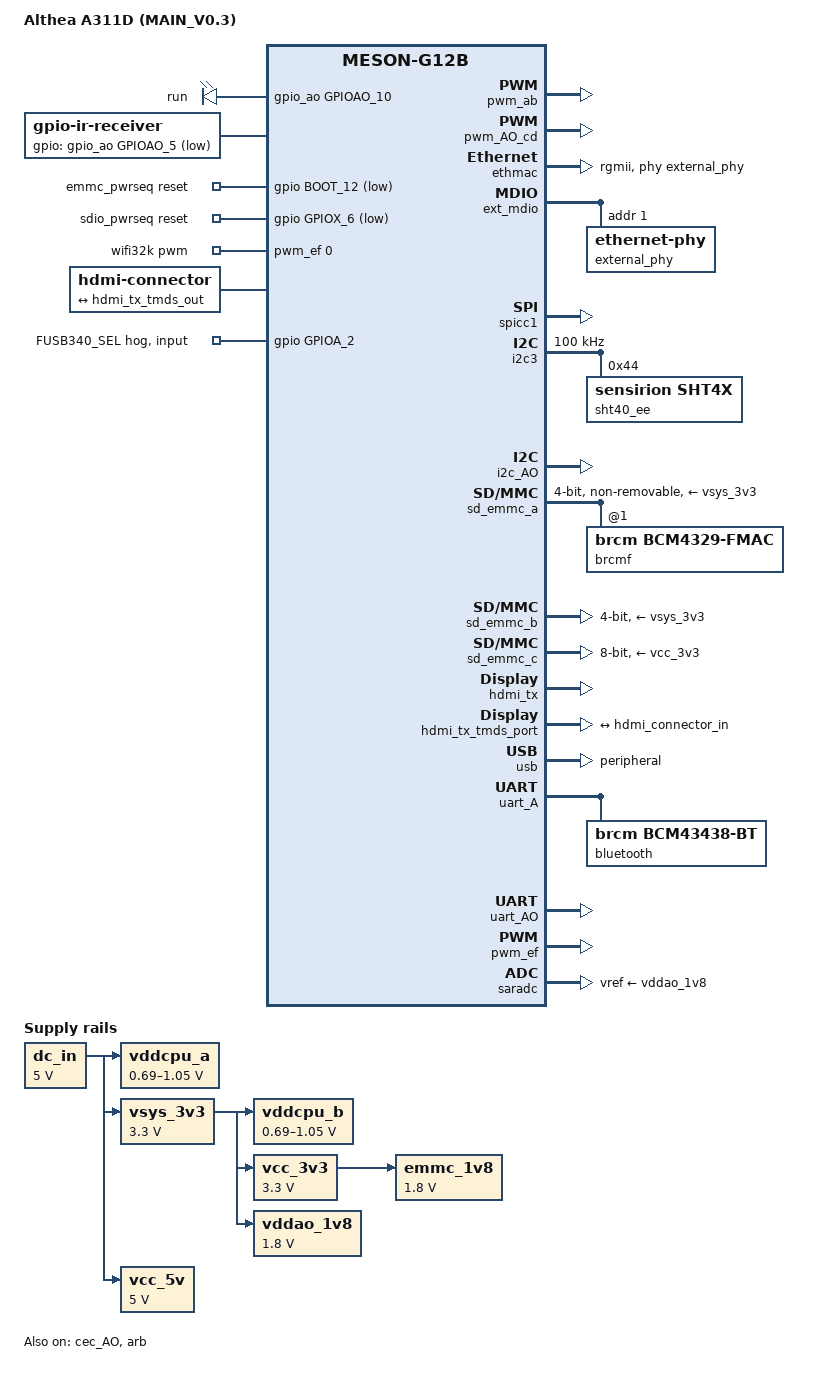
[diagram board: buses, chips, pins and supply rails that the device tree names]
// SPDX-License-Identifier: (GPL-2.0+ OR MIT)
/*
 * MAIN_V0.3 — Althea A311D board
 *
 * 派生自 Khadas VIM3 (meson-g12b-a311d-khadas-vim3.dts)
 * 骨架来源: mainline kernel 6.18.52
 *          arch/arm64/boot/dts/amlogic/meson-khadas-vim3.dtsi
 *
 * 本板与 VIM3 的差异:
 *   - 无on-board MCU（VIM3 用 khadas_mcu@18 + tca6408@20 做 GPIO扩展）→ 已删除
 *   - 无音频（TDM 声卡全删）→ 已删除
 *   - FUSB340TMX 切换改由 GPIOA_2 直控 SEL（VIM3 靠 MCU）
 *   - 以太网 PHY 地址 = 1（strap 实测，非 VIM3 的 0）
 *   - 新增 SPI 点屏（GPIOA_3/GPIOA_4/GPIOH_4~8）
 *   - 新增 SHT40 温湿度（U42，地址 0x44，走 &i2c3）
 *     （U45 虽贴装但 I2C 线网表悬空，未启用）
 *   - 摄像头未使用 → CSI/ISP 关闭
 *
 * 数据来源: MAIN_V0.3 全工程网表实测（495 元件/ 393 网络）
 *          PCB 等长网络组实测（TX散布6.5mil / RX 散布 7.3mil）
 *
 * ⚠ 运行时热切换限制（详见 FUSB340 说明段）
 *
 *   &pcie 与 &usb 共用 usb3_pcie_phy（meson-g12-common.dtsi:164/2510），
 *   DTS 是编译期静态描述，PHY 归谁在编译时就定死。
 *   → 当前配置：默认只开 USB3.0（&usb okay，&pcie disabled），
 *     与 FUSB340 SEL 默认 LOW 一致。
 *   → 运行期 echo GPIO 只能改 FUSB340 物理通路，无法同步 SoC 内部 PHY 归属。
 *   → 要切 PCIe 需重编 DTB（方案 A，推荐）或实测 unbind/bind（方案 C，不保证）。
 *
 * ✅ 已确认可用：CPU 调压(VIM3 骨架) / 以太网(rgmii+tx-delay+rx-delay) /
 *    SDIO / SD / eMMC / HDMI / CEC / USB / 运行灯 / 红外GPIO /
 *    **SPI 硬件 SPI1(GPIOH_4~7, CS=GPIOH_6/SCLK=GPIOH_7)** /
 *    SPI 屏 RST-RS-背光 / **SHT40(U42, i2c3)**
 */

/dts-v1/;

#include <dt-bindings/gpio/meson-g12a-gpio.h>
#include <dt-bindings/gpio/gpio.h>
#include <dt-bindings/leds/common.h>
#include <dt-bindings/input/linux-event-codes.h>
#include <dt-bindings/interrupt-controller/irq.h>
/* ⚠⚠ 只能 include a311d 这一份，**不要**再 include meson-g12b-s922x.dtsi。
 *
 *   原因：两个 dtsi 都在根节点下定义**同名** opp-table-0 / opp-table-1
 *   （label 也同名：cpu_opp_table_0 / cpub_opp_table_1），但电压值不同：
 *     a311d: 1.0GHz = 761000 µV
 *     s922x: 1.0GHz = 731000 µV
 *   dtc 对同名节点是**合并**而非报错（livetree.c: merge_nodes()），
 *   后 include 的 s922x 覆盖同名属性、子节点取并集 →
 *   产出一张「A311D + S922X 混搭」的 CPU 频率-电压表，
 *   且混入 A311D 不支持的频率点（1.896 / 1.992 GHz）。
 *
 *   本板是 A311D，只需 a311d 的表。上游 A311D VIM3 板级文件
 *   （meson-g12b-a311d-khadas-vim3.dts）也只 include 一份。
 */
#include "meson-g12b-a311d.dtsi"

/ {
	model = "Althea A311D (MAIN_V0.3)";
	compatible = "althea,a311d", "amlogic,a311d", "amlogic,g12b";

	aliases {
		serial0 = &uart_AO;
		ethernet0 = &ethmac;
		/* ⚠ 本板**没有** RTC 芯片（网表 495 元件里查无 8563/3231/DS1307 等），
		 *   原先指向厂商 hym8563 的 rtc@51 节点已删除。
		 *   改指 SoC 内置的虚拟 RTC（vrtc: rtc@a8，compatible="amlogic,meson-vrtc"，
		 *   驱动 drivers/rtc/rtc-meson-vrtc.c，上游 g12-common.dtsi 里默认 okay）。
		 *   上游 VIM3 用 rtc0=&rtc(hym8563) + rtc1=&vrtc，本板只有 vrtc 一个。
		 */
		rtc0 = &vrtc;
	};

	chosen {
		stdout-path = "serial0:115200n8";
	};

	/* ================================================================
	 * 电源（VIM3 骨架，pwm-regulator 调压）
	 * ================================================================
	 * ⚠ 关于 VDDCPU_B_EN(TEST_N)：
	 *   本板未实现 TEST_N 控制。厂商 pro-a311d DTS 与mainline VIM3 均为
	 *   regulator-always-on（VIM3 原注释: "FIXME: actually controlled by
	 *   VDDCPU_B_EN"）。A311D 无 PMIC，CPU 供电靠 PWM 占空比调压，
	 *   TEST_N 仅作硬件上电闸门，不需DTS 控制。
	 *   本板网表 VDDCPU_B_EN(CN3-73) 链路 R6/R12/Q2/U4 全部 bom=no（未使用）。
	 */

	/* 大核 A73 供电：MP8756GD，用 pwm_ab 控制器的 **A 通道** */
	vddcpu_a: regulator-vddcpu-a {
		compatible = "pwm-regulator";
		regulator-name = "VDDCPU_A";
		regulator-min-microvolt = <690000>;
		regulator-max-microvolt = <1050000>;

		pwm-supply = <&dc_in>;
		/*
		 * pwm_ab = EE 域 PWM 控制器(pwm@1b000)，0=A、1=B。
		 * 通道 0(A) 可选脚含 GPIOX_6；
		 * 本板 VDDCPU_A_PWM = GPIOE_2 (厂商 pinmux pwm_a_e2 →
		 *   function "pwm_a_gpioe"，规格书 Table 3-10 GPIOE_2 组)。
		 */
		pwms = <&pwm_ab 0 1250 0>;
		pwm-dutycycle-range = <100 0>;

		regulator-boot-on;
		regulator-always-on;
	};

	/* 小核 A53 供电：SY8030DEC，用 PWM_AO_C/D 控制器的 **D 通道** */
	vddcpu_b: regulator-vddcpu-b {
		compatible = "pwm-regulator";
		regulator-name = "VDDCPU_B";
		regulator-min-microvolt = <690000>;
		regulator-max-microvolt = <1050000>;

		pwm-supply = <&vsys_3v3>;
		/*
		 * pwm_AO_cd = AO 域 PWM 控制器(pwm@2000)，非引脚名。
		 * Amlogic PWM 两两配对：AB / CD / EF。
		 * 此控制器 0=A、1=D。
		 * 通道 1(D) 可选脚: GPIOAO_5 / GPIOAO_10 / GPIOE_1
		 * 本板 VDDCPU_B_PWM = GPIOE_1 (规格书 Table 3-10
		 *   GPIOE_1 Func3 = PWMAO_D)，故用 pwm_ao_d_e_pins。
		 */
		pwms = <&pwm_AO_cd 1 1250 0>;
		pwm-dutycycle-range = <100 0>;

		regulator-boot-on;
		regulator-always-on;
	};

	dc_in: regulator-dc-in {
		compatible = "regulator-fixed";
		regulator-name = "DC_IN";
		regulator-min-microvolt = <5000000>;
		regulator-max-microvolt = <5000000>;
		regulator-always-on;
	};

	vsys_3v3: regulator-vsys-3v3 {
		compatible = "regulator-fixed";
		regulator-name = "VSYS_3V3";
		regulator-min-microvolt = <3300000>;
		regulator-max-microvolt = <3300000>;
		vin-supply = <&dc_in>;
		regulator-always-on;
	};

	vcc_5v: regulator-vcc-5v {
		compatible = "regulator-fixed";
		regulator-name = "VCC_5V";
		regulator-min-microvolt = <5000000>;
		regulator-max-microvolt = <5000000>;
		vin-supply = <&dc_in>;
		regulator-always-on;
	};

	/* MT9700 EN 已改电阻上拉常开 → GPIOAO_11 释放，不做 GPIO 使能 */
	vcc_3v3: regulator-vcc-3v3 {
		compatible = "regulator-fixed";
		regulator-name = "VCC_3V3";
		regulator-min-microvolt = <3300000>;
		regulator-max-microvolt = <3300000>;
		vin-supply = <&vsys_3v3>;
		regulator-always-on;
	};

	vddao_1v8: regulator-vddao-1v8 {
		compatible = "regulator-fixed";
		regulator-name = "VDDIO_AO1V8";
		regulator-min-microvolt = <1800000>;
		regulator-max-microvolt = <1800000>;
		vin-supply = <&vsys_3v3>;
		regulator-always-on;
	};

	emmc_1v8: regulator-emmc-1v8 {
		compatible = "regulator-fixed";
		regulator-name = "EMMC_AO1V8";
		regulator-min-microvolt = <1800000>;
		regulator-max-microvolt = <1800000>;
		vin-supply = <&vcc_3v3>;
		regulator-always-on;
	};

	/* ================================================================
	 * 运行指示灯 LED4 —— GPIOAO_10
	 * ================================================================
	 * 硬件: A_3V3 → R108(4.7k) → LED4 → Q8(PMBS3904, **NPN**) → GND
	 *      Q8 BASE ← R110(100Ω) ← GPIOAO_10
	 * NPN 低边开关 → 高电平点亮 → GPIO_ACTIVE_HIGH
	 * AO 域 can_sleep=false → 内核 heartbeat 可在 atomic 上下文工作
	 *
	 * ⚠⚠ 属性名必须是 **linux,default-trigger**（带 `linux,` 前缀）！
	 *   内核 6.18 里读 trigger 的只有 LED core 一处：
	 *     drivers/leds/led-class.c:504
	 *       fwnode_property_read_string(init_data->fwnode,
	 *                                 "linux,default-trigger",
	 *                                 &led_cdev->default_trigger);
	 *   plain 的 "default-trigger" **内核里没有任何代码读**（旧的
	 *   drivers/leds/leds-of.c 已在 6.18 删除），
	 *   写成 plain 形式 → 属性被静默忽略 → 灯常亮不闪。
	 *
	 * ⚠ 同理，默认状态属性叫 **default-state**（不是 state）：
	 *   drivers/leds/led-core.c:607  led_init_default_state_get()
	 *     fwnode_property_read_string(fwnode, "default-state", &state)
	 *   写 "state" 同样无人读取。
	 */
	leds {
		compatible = "gpio-leds";

		run_led {
			label = "run";
			gpios = <&gpio_ao GPIOAO_10 GPIO_ACTIVE_HIGH>;
			linux,default-trigger = "heartbeat";
			default-state = "on";
		};
	};

	/* ------------------------------------------------------------
	 * PCIe / M.2 控制脚（网表实测，见文件末尾 &pcie 段详注）
	 * ------------------------------------------------------------
	 * GPIOA_0  = PCIE_PERST     4.7k 上拉 A_3V3(R88) + 0Ω(R92) → CN2-30，低有效
	 * GPIOA_1  = PCIE_PEWAKE    4.7k 上拉 A_3V3(R89) + 0Ω(R91) → CN2-32
	 * GPIOC_7  = PCIE_CLKREQ_N  4.7k 下拉 GND(R90)  + 0Ω(R93) → CN2-28，低有效
	 * GPIOA_2  = FUSB340 SEL    R86(0Ω) 到 U28.6，R85/R87 4.7k 下拉 → 默认 USB3.0
	 *
	 * ⚠⚠ FUSB340_SEL 的 hog **不能**放在根节点（见文件末尾 &gpio 段）。
	 *   下面只留注释说明，实体节点见 &gpio { fusb340-sel-hog { ... } }。
	 */

	/* ================================================================
	 * 红外接收 —— U38 IRM-V838M3-C/TR1 → GPIOAO_5 (AO 域)
	 * ================================================================
	 * 链路: U38.3 → R116/R115 → CN3-75 (IR_IN) → GPIOAO_5
	 * 复用名 IR_REMOTE_IN / PWMAO_D（规格书）
	 *
	 * ⚠ 本板遥控器键值表未知，暂用 Linux 自带 rc-khadas。
	 *   若遥控器型号不同，需换对应 rc-map-name 或自定义 keymap。
	 */
	ir-receiver {
		compatible = "gpio-ir-receiver";
		gpios = <&gpio_ao GPIOAO_5 GPIO_ACTIVE_LOW>;
	};

	/* ================================================================
	 * SPI 屏（FPC5 座）
	 * ================================================================
	 * SPI_B: MOSI=GPIOH_4, MISO=GPIOH_5, CS=GPIOH_7, SCLK=GPIOH_6
	 * 屏控制: RST=GPIOA_3, RS=GPIOA_4（普通 GPIO，非 SPI 复用）
	 * 背光:   GPIOH_8 → Q15(MMBT3906 **PNP** 高边) → SPI_LEDA
	 *          PNP 拉低导通 → GPIO_ACTIVE_LOW
	 */

	/* eMMC 上电时序 */
	emmc_pwrseq: emmc-pwrseq {
		compatible = "mmc-pwrseq-emmc";
		reset-gpios = <&gpio BOOT_12 GPIO_ACTIVE_LOW>;
	};

	/* SDIO (AP6256) 上电时序 —— 用 GPIOX_6 */
	sdio_pwrseq: sdio-pwrseq {
		compatible = "mmc-pwrseq-simple";
		reset-gpios = <&gpio GPIOX_6 GPIO_ACTIVE_LOW>;
		clocks = <&wifi32k>;
		clock-names = "ext_clock";
	};

	/* 32.768kHz 时钟（AP6256 需求） */
	wifi32k: wifi32k {
		compatible = "pwm-clock";
		#clock-cells = <0>;
		clock-frequency = <32768>;
		pwms = <&pwm_ef 0 30518 0>; /* PWM_E at 32.768KHz */
	};

	hdmi-connector {
		compatible = "hdmi-connector";
		type = "a";

		port {
			hdmi_connector_in: endpoint {
				remote-endpoint = <&hdmi_tx_tmds_out>;
			};
		};
	};

	/* ================================================================
	 * SHT40 (U42) —— 温湿度传感器，地址 0x44
	 * ================================================================
	 * U42 @ TOUCH_I2C (GPIOA_14/A15, EE 域, A_3V3 供电)
	 * U45 @ I2C_AO_S0 (AO 域, VDDIO_AO18 1.8V 供电)
	 * ⚠ 不能挂到同一&i2c 下 → 地址冲突
	 */

	/* ================================================================
	 * 按键 —— 全部非 GPIO 直连，底板不声明
	 * ================================================================
	 * SW2 → PWR_RST(CN3-35)     硬复位，不进 DTS
	 * SW3 → EMMC_KEY(CN3-33)    eMMC 复位，不进 DTS
	 * SW4 → PWR_KEY_DET(CN3-43) 电源/唤醒键（核心板侧处理）
	 * SW5 → ADC_KEY(CN3-55)     bom=no 未贴；SARADC_CH0/CH3 悬空
	 * 所有串阻均为 **100Ω**（非 1k）
	 * → 无 adc-keys、无 gpio-keys
	 */

	/* ================================================================
	 * 摄像头未使用 → 全部屏蔽
	 * ================================================================
	 * MIPI-CSI(FPC2) / CAMERA_RST / CM_RST / CM_PWRDN / I2C2_*_CAM 均不引用
	 * FPC3 仅保留 MIPI-DSI 显示通路
	 */
};

/* ==================================================================
 * CPU 频率/电压绑定（VIM3 骨架）
 * ================================================================== */
&cpu0 {
	cpu-supply = <&vddcpu_b>;      /* A53 小核 */
	operating-points-v2 = <&cpu_opp_table_0>;
	clocks = <&clkc CLKID_CPU_CLK>;
};

&cpu1 {
	cpu-supply = <&vddcpu_b>;
	operating-points-v2 = <&cpu_opp_table_0>;
	clocks = <&clkc CLKID_CPU_CLK>;
};

&cpu100 {
	cpu-supply = <&vddcpu_a>;      /* A73 大核 */
	operating-points-v2 = <&cpub_opp_table_1>;
	clocks = <&clkc CLKID_CPUB_CLK>;
};

&cpu101 {
	cpu-supply = <&vddcpu_a>;
	operating-points-v2 = <&cpub_opp_table_1>;
	clocks = <&clkc CLKID_CPUB_CLK>;
};

&cpu102 {
	cpu-supply = <&vddcpu_a>;
	operating-points-v2 = <&cpub_opp_table_1>;
	clocks = <&clkc CLKID_CPUB_CLK>;
};

&cpu103 {
	cpu-supply = <&vddcpu_a>;
	operating-points-v2 = <&cpub_opp_table_1>;
	clocks = <&clkc CLKID_CPUB_CLK>;
};

/* pwm_ab 通道0(A) → GPIOE_2 = VDDCPU_A_PWM（大核 A73） */
&pwm_ab {
	pinctrl-0 = <&pwm_a_e_pins>;
	pinctrl-names = "default";
	status = "okay";
};

/* pwm_AO_cd 通道1(D) → GPIOE_1 = VDDCPU_B_PWM（小核 A53） */
&pwm_AO_cd {
	pinctrl-0 = <&pwm_ao_d_e_pins>;
	pinctrl-names = "default";
	status = "okay";
};

/* ==================================================================
 * 以太网 —— RGMII 千兆 + RTL8211F
 * ==================================================================
 * PHY : U23 = RTL8211F，pin-to-pin 兼容 YT8531H-CA
 * 地址: strap 实测 = 3'b001 = 1（R78→A_3V3, R79/R80→GND）
 *       ⚠ VIM3 用 reg=<0>，本板必须改为 1
 *
 * 延时方案（抄 VIM3 + 补 RX）:
 *   PHY strap: TXDLY=1(加2ns), RXDLY=0(不加)
 *   PCB 等长实测: TX散布 6.5mil(≈1ps), RX 散布 7.3mil(≈1ps)
 *   → PCB 几乎不提供 clock-data 偏移
 *   → TX 由 MAC 加（amlogic,tx-delay-ns=2，VIM3 原样）
 *   → RX 由 MAC 加（rx-internal-delay-ps=2000，范围 0..3000ps/200ps 步进）
 *
 * ⚠ 禁用 phy-mode="rgmii-id"：PHY strap TXDLY 已开，会与 MAC 叠加成 4ns
 */
&ethmac {
	pinctrl-0 = <&eth_pins>, <&eth_rgmii_pins>;
	pinctrl-names = "default";
	status = "okay";
	phy-mode = "rgmii";
	phy-handle = <&external_phy>;
	amlogic,tx-delay-ns = <2>;
	rx-internal-delay-ps = <2000>;
};

&ext_mdio {
	external_phy: ethernet-phy@1 {   /* ⚠ 非 VIM3 的 @0 */
		/* Realtek RTL8211F (0x001cc916) */
		reg = <1>;
		max-speed = <1000>;
	};
};

/*
 *⚠⚠⚠ FUSB340TMX —— PCIe / USB3.0 热切换：可行性结论 ⚠⚠⚠
 *
 * 【硬件】
 *   GPIOA_2 → CN2-36 → R86(0Ω) → FUSB340 .6(SEL)
 *   FUSB340 .7(OE) → GND = 恒使能（0 = Switches Enabled）
 *   R85/R87 = 4.7k 下拉 →上电默认 LOW
 *
 *   SEL=0 (LOW)  → SW1 → USB3.0   ← 默认
 *   SEL=1 (HIGH) → SW2 → PCIe
 *
 * 【为什么 DTS 不能"热切换"】
 *
 *   A311D 的 PCIe 与 USB3 共用**同一个 PHY**（usb3_pcie_phy, phy@46000），
 *   两者是同一 PHY 的两种模式：
 *     meson-g12-common.dtsi:164   &pcie  → phys = <&usb3_pcie_phy PHY_TYPE_PCIE>
 *     meson-g12-common.dtsi:2510&usb   → phys = <&usb3_pcie_phy PHY_TYPE_USB3>
 *
 *   DTS 是**编译期静态描述**，一旦编译进 dtb，PHY 归谁就固定了：
 *     - pcie 的 status="okay" + USB 去掉 → 编译后一直是 PCIe
 *     - USB 启用 + pcie status="disabled"      → 编译后一直是 USB3.0
 *
 *   运行中改 GPIO 只能改变 FUSB340 的**物理通路**，
 *   但 SoC 内部仍按dtb 里写死的那一侧在枚举设备 → 两边不一致，功能失效。
 *
 * 【三个可选方案】
 *
 *   方案 A（推荐，最稳）：**两个DTB，开机时选**
 *     编译 amlogic/meson-halo-a311d.dtb 与 amlogic/meson-halo-a311d-pcie.dtb
 *     切换时改 U-Boot 的 fdtfile（**不是 extlinux**，见 docs/冷切换使用说明.md），重启生效
 *     → 彻底规避 PHY 归属问题，无热插拔风险
 *
 *   方案 B：DTB 里 pcie 与 usb **同时 status="okay"**
 *     两者共用 PHY，驱动 probe 时会争抢 → 大概率一方失败
 *     ⚠ 不推荐，除非已实测
 *
 *   方案 C：运行期 unbind/bind（理论可行，复杂度高）
 *     1) echo 0000:00.0 > /sys/bus/pci/devices/0000:00.0/remove   # 摘 PCIe
 *     2) echo 1 > /sys/class/gpio/<n>/value                     # SEL=1
 *     3) 重新 bind pcie / usb 控制器
 *     → PHY 模式位需要正确复位，仅切 FUSB340 不一定够
 *     → 需实测验证，不保证
 *
 * 【当前 DTS 采用】
 *   默认只开USB3.0（&usb status="okay"），&pcie 保持 disabled，
 *   与用户要求"默认 LOW 使能 USB3.0"一致。
 *   GPIOA_2 用 gpio-hog 占位（&gpio 下的 fusb340-sel-hog，**input** hog，
 *   line-name="FUSB340_SEL"），只占位不驱动 strap。
 *   ⚠ input hog 会把该线标记为内核 REQUESTED → userspace **不能**
 *     再 export 读写它（不能 echo）。
 *   → 切换 PCIe 请改 DT 后重编（方案 A），或走方案 C（unbind/bind）。
 *
 *   切换 PCIe 需改 DT 后重编：
 *     &pcie  { status = "okay"; reset-gpios = <&gpio GPIOA_0 GPIO_ACTIVE_LOW>; }
 *     &usb   { status = "disabled"; }
 *     并把 FUSB340 SEL 的默认电平改为 HIGH（或固件启动时拉高）
 */

/* ==================================================================
 * SPI 屏（FPC5）—— 硬件 SPI1（GPIOH_4~7）
 * ==================================================================
 * 规格书 A311D Table 3-26 (GPIO_x Multi-Function Pin) 与
 * mainline drivers/pinctrl/meson/pinctrl-meson-g12a.c 双向确认：
 *
 *   规格书 bit 字段         GPIO      驱动 group    pinctrl function
 *   ----------------------  --------  ------------  ---------------
 *   bit31-24  SPI_B_MOSI    GPIOH_4   spi1_mosi     "spi1"
 *   bit23-16  SPI_B_SCLK    GPIOH_7   spi1_clk      "spi1"
 *   bit15-8   SPI_B_SS0     GPIOH_6   spi1_ss0      "spi1"
 *   bit7-0    SPI_B_MISO    GPIOH_5   spi1_miso     "spi1"
 *
 *   驱动原文 (pinctrl-meson-g12a.c):
 *     186: spi1_mosi_pins[] = { GPIOH_4 };
 *     187: spi1_miso_pins[] = { GPIOH_5 };
 *     188: spi1_ss0_pins[]  = { GPIOH_6 };
 *     189: spi1_clk_pins[]  = { GPIOH_7 };
 *
 *   注意命名差异：规格书称 SPI_B（SoC 第 2 个 SPI），
 *   mainline pinctrl 驱动称 spi1_*，SoC 节点名为 spi1。
 *
 *   CS = SPI_B_SS0 = GPIOH_6（不是 GPIOH_7）；SCLK = GPIOH_7。
 *
 * 屏控制 GPIO（与 SPI 控制器无关）：
 *   GPIOA_3 = SPI_RST(屏复位)   GPIOA_4 = SPI_RS(寄存器选择)
 *   GPIOH_8 = 背光 EN -> Q15(MMBT3906 PNP 高边) -> ACTIVE_LOW
 */

/* SPI_B 控制器 = SPI1，GPIOH_4~7 */
/* spi1_* pinctrl group 归属 &spicc1 (spi@15000)，
 * 见 meson-g12-common.dtsi:1058 spicc1_pins
 *   groups = "spi1_mosi","spi1_miso","spi1_clk" / function = "spi1"
 * SS0 是独立节点 spicc1_ss0_pins (group "spi1_ss0")，需单独列进 pinctrl。
 */
&spicc1 {
	status = "okay";

	pinctrl-0 = <&spicc1_pins>, <&spicc1_ss0_pins>;
	pinctrl-names = "default";

	num-cs = <1>;
	cs-gpios = <&gpio GPIOH_6 GPIO_ACTIVE_LOW>;	/* SPI_B_SS0 = GPIOH_6 */

	/* ⚠⚠ 这里**不能**写 max-frequency —— 内核根本不读它！
	 *   SPI 子系统只读**从设备**节点上的 `spi-max-frequency`
	 *   （drivers/spi/spi.c:2456  of_property_read_u32(nc, "spi-max-frequency", ...)），
	 *   控制器节点上的 max-frequency 没有任何驱动消费。
	 *   之前写的 `max-frequency = <24000000>`（想限制到 24MHz）**从未生效**。
	 *
	 *   实际限频由驱动决定：drivers/spi/spi-meson-spicc.c
	 *     meson_spicc_g12a_data.max_speed_hz = 166666666   (166 MHz)
	 *   → 屏在 SPI 总线上最高可跑到 166MHz。
	 *
	 *   本板 SPI_B 上接的是**裸屏**（无 Linux 驱动、无从设备节点，
	 *   见下方「屏控制 GPIO 说明」），没有地方挂 spi-max-frequency。
	 *   要限制到 24MHz，需要给屏写一个 spi 从设备节点并在其中声明
	 *   spi-max-frequency = <24000000>；等屏驱动到位时再补。
	 *
	 *   屏初始化序列通常在屏驱动中，不在 DTS */
};

/* 屏控制 GPIO 说明（无对应 Linux 驱动消费，故不单独声明节点）
 *   屏复位RST   = GPIOA_3  (普通 GPIO 输出，屏手册定极性)
 *   寄存器选择RS = GPIOA_4  (普通 GPIO 输出)
 *   背光 EN     = GPIOH_8  (Q15 MMBT3906 PNP 高边 → 拉低导通 → 亮)
 *   → 背光随下面 leds 节点的 run_led 一并管理；RST/RS 由屏驱动或用户态控制。
 */

/* ==================================================================
 * GPIO —— periphs bank（&gpio = meson-g12-common.dtsi 的 bank@40）
 * ==================================================================
 * GPIOA_2 = FUSB340 SEL strap
 *
 * ⚠⚠ 这里放 gpio-hog，**必须**是 gpio-controller 的**子节点**！
 *   内核只在自己的 gpio controller 节点下扫 hog：
 *     drivers/gpio/gpiolib-of.c: of_gpiochip_scan_gpios()
 *       for_each_available_child_of_node_scoped(dev_of_node(&chip->gpiodev->dev), np) {
 *               if (!of_property_read_bool(np, "gpio-hog"))
 *                       continue;
 *               ret = of_gpiochip_add_hog(chip, np);
 *   → 挂在根节点（或别的节点）下，**内核根本不会去看它**。
 *
 * ⚠⚠ 之前写的 `gpio-hog-controller-gpios` 这个属性**上游不存在**，
 *   正确的是三个必需属性：
 *     gpio-hog  (bool)  —— 声明"我是一个 hog"
 *     gpios     (u32[]) —— 要占位的 GPIO
 *     input / output-low / output-high —— **三选一，必须显式写**
 *
 * ⚠⚠ 状态属性必须显式写一个，否则整个 hog 被内核丢弃：
 *   drivers/gpio/gpiolib-of.c: of_parse_own_gpio()
 *     if (of_property_read_bool(np, "input"))
 *             *dflags |= GPIOD_IN;
 *     else if (of_property_read_bool(np, "output-low"))
 *             *dflags |= GPIOD_OUT_LOW;
 *     else if (of_property_read_bool(np, "output-high"))
 *             *dflags |= GPIOD_OUT_HIGH;
 *     else {
 *             pr_warn("GPIO line %d (%pOFn): no hogging state specified, bailing out\n", ...);
 *             return ERR_PTR(-EINVAL);
 *     }
 *   → "不写 output-* 就自动变成 input"是**错的**：不写状态 = 报
 *     warning 并**跳过该 hog**，不是变成 input hog。
 *
 * 【为什么必须用 input，不能用 output-low】
 *   板上 SEL 预留了上拉/下拉电阻位，靠**选贴哪颗**决定电平：
 *       贴下拉(R85) → SEL=0 → USB3.0（默认）
 *       贴上拉(R87) → SEL=1 → PCIe
 *   U-Boot 在 boot 前 `gpio read` 这个脚，据此选 dtb
 *   （见 boot/boot-meson64.cmd 注入块）。
 *   若这里写 output-*，SoC 会强驱该脚把 strap 电平盖掉 ——
 *   读出来永远是 SoC 自己的输出值，切换逻辑直接失效。
 *
 * 【input hog 的副作用（重要）】
 *   gpiod_hog() 内部走 gpiochip_request_own_desc()，该线被内核标记为
 *   REQUESTED → **userspace 不能再 export 这条线**
 *   → 运行期无法用 echo /sys/class/gpio/... 读写它。
 *   （旧注释说的"运行期可 echo 读写"是错的。）
 *   要在运行期改 SEL，只能靠方案 C（unbind/bind 控制器）或干脆重编 DTB。
 */
&gpio {
	/* ⚠⚠ 节点名**不要**加 label！
	 *   写成 `fusb340-sel-hog: fusb340-sel-hog {` 会编译失败：
	 *     Error: meson-halo-a311d.dts:584.17-18 syntax error
	 *   原因：cpp 会把 label 里的 '-' 当成减号，展开成
	 *     `fusb340 - sel - hog: fusb340 - sel - hog {`
	 *   dtc 先读到 'fusb340'，期待 ':' 却看到 '-' → 语法错误。
	 *   （节点名本身带 '-' 没问题，dtc 会重新拼接；
	 *     但 'label: node' 形式下 label 里的 '-' 会被 cpp 拆开。）
	 *   上游 147 处 gpio-hog 用例**没有一个带 label**，本处照办。
	 *   可读名字放 line-name。
	 */
	fusb340-sel-hog {
		gpio-hog;
		gpios = <GPIOA_2 GPIO_ACTIVE_HIGH>;
		input;
		line-name = "FUSB340_SEL";
	};
};

/* ==================================================================
 * I2C —— SHT40 温湿度
 * ==================================================================
 * U42 @ I2C3 (GPIOA_14=SDA / GPIOA_15=SCL, EE 域, A_3V3 供电)
 *      规格书复用名 I2C_EE_M3_SDA / I2C_EE_M3_SCL
 *      驱动确认 (drivers/pinctrl/meson/pinctrl-meson-g12a.c):
 *        216: i2c3_sda_a_pins[] = { GPIOA_14 };
 *        217: i2c3_sck_a_pins[] = { GPIOA_15 };
 *      i2c3 节点: meson-g12-common.dtsi:2373  (i2c@1c000)
 *      参照: VIM3 亦用此组 (meson-khadas-vim3.dtsi:339)
 *
 * U45 @ I2C_AO (AO 域, VDDIO_AO18 1.8V 供电)
 *
 * 注意：两颗同地址 0x44 但在**两个独立 I2C 控制器**上，合法共存。
 *       切勿挂到同一 &i2c 下（地址冲突 -> 总线锁死）。
 */

/* U42 SHT40 —— I2C3 @ GPIOA_14(SDA)/GPIOA_15(SCL) */
&i2c3 {
	status = "okay";
	pinctrl-0 = <&i2c3_sda_a_pins>, <&i2c3_sck_a_pins>;
	pinctrl-names = "default";
	clock-frequency = <100000>;

	sht40_ee: sht40@44 {
		compatible = "sensirion,sht4x";
		reg = <0x44>;
	};
};

/* ==================================================================
 * I2C_AO —— AO 域 I2C 控制器（保留控制器，无挂载器件）
 * ==================================================================
 * ⚠ 这里**只保留控制器本身，不挂任何设备节点**，原因如下（依据网表
 *   netlist-dump/nl_parsed_full.json，495 元件 / 393 网络）：
 *
 * 1) U45 (SHT40) 已从 DTS 移除 —— 它的 I2C 线在网表上是**单端悬空**：
 *      I2C_AO_S0_SCL : 连接点仅 U45.2（1 个）
 *      I2C_AO_S0_SDA : 连接点仅 U45.1（1 个）
 *    即既没接到 SoC 的 AO I2C 引脚，也没有上拉电阻（对比 U42 所在的
 *    TOUCH_I2C_SCL/SDA：直连 CN2-64/62 → A311D GPIOA_15/A14）。
 *    → 这颗器件在 I2C 上根本收不到 ACK，驱动永远探测不到它，
 *      写节点只是误导。（U45 供电 VDDIO_AO18 正常，仅信号线悬空）
 *
 * 2) rtc@51 (hym8563) 已从 DTS 移除 —— 本板 495 个元件里
 *    **没有任何 RTC 芯片**（无 8563/3231/3028/DS1307 等）。
 *    该节点是从厂商 BSP (docs/vendor_dts/pro-a311d.dts:380) 抄来的，
 *    本板无对应硬件 → 留着只会让内核去 probe 一条不存在的总线。
 *
 * 保留控制器本身的意义：AO 域 I2C 引出到 CN3-69/71
 * （网络 I2C_AO_M0_SDA/SCL，经 Q13/Q14 模拟开关；两者 add_bom=no
 * 即不贴），后续若贴装外设可直接用这条控制器。
 */
&i2c_AO {
	status = "okay";
	pinctrl-0 = <&i2c_ao_sck_pins>, <&i2c_ao_sda_pins>;
	pinctrl-names = "default";
};

/* ==================================================================
 * SDIO —— AP6256 (A311D 仅 1 个 SDIO 控制器)
 * ================================================================== */
&sd_emmc_a {
	status = "okay";
	pinctrl-0 = <&sdio_pins>;
	pinctrl-1 = <&sdio_clk_gate_pins>;
	pinctrl-names = "default", "clk-gate";
	#address-cells = <1>;
	#size-cells = <0>;

	bus-width = <4>;
	cap-sd-highspeed;
	max-frequency = <100000000>;

	non-removable;
	disable-wp;
	keep-power-in-suspend;   /* WiFi 固件要求挂起时保持供电 */

	mmc-pwrseq = <&sdio_pwrseq>;

	vmmc-supply = <&vsys_3v3>;
	vqmmc-supply = <&vddao_1v8>;

	brcmf: wifi@1 {
		reg = <1>;
		compatible = "brcm,bcm4329-fmac";
	};
};

/* ==================================================================
 * SD 卡 (CARD1)
 * ================================================================== */
&sd_emmc_b {
	status = "okay";
	pinctrl-0 = <&sdcard_c_pins>;
	pinctrl-1 = <&sdcard_clk_gate_c_pins>;
	pinctrl-names = "default", "clk-gate";

	bus-width = <4>;
	cap-sd-highspeed;
	max-frequency = <50000000>;
	disable-wp;

	vmmc-supply = <&vsys_3v3>;
	vqmmc-supply = <&vsys_3v3>;
};

/* ==================================================================
 * eMMC (核心板)
 * ================================================================== */
&sd_emmc_c {
	status = "okay";
	pinctrl-0 = <&emmc_ctrl_pins>, <&emmc_data_8b_pins>, <&emmc_ds_pins>;
	pinctrl-1 = <&emmc_clk_gate_pins>;
	pinctrl-names = "default", "clk-gate";

	bus-width = <8>;
	cap-mmc-highspeed;
	mmc-ddr-1_8v;
	mmc-hs200-1_8v;
	max-frequency = <200000000>;
	disable-wp;

	mmc-pwrseq = <&emmc_pwrseq>;
	vmmc-supply = <&vcc_3v3>;
	vqmmc-supply = <&emmc_1v8>;
};

/* ==================================================================
 * 显示 —— 仅 MIPI-DSI(FPC3)；CSI 摄像头未使用
 * ==================================================================
 * SPI 屏走 &spi_A + 背光 GPIO，此处不配 DSI
 */

/* ==================================================================
 * 音频 —— 本板不保留（VIM3 的 TDM 声卡整块删除）
 * ==================================================================
 * 网表确认本板只有 AL_CH_P/N、AR_CH_P/N(CN1-37~43) 模拟音频通道，
 * 无外部 codec/功放 → 不需要声卡节点
 * → &tdmif_a / &tdmin_a / &tdmout_a / &toddr_a~c 全部不使能
 */

/* ==================================================================
 * HDMI
 * ================================================================== */
&hdmi_tx {
	status = "okay";
	pinctrl-0 = <&hdmitx_hpd_pins>, <&hdmitx_ddc_pins>;
	pinctrl-names = "default";
	hdmi-supply = <&vcc_5v>;
};

&hdmi_tx_tmds_port {
	hdmi_tx_tmds_out: endpoint {
		remote-endpoint = <&hdmi_connector_in>;
	};
};

/* CEC：底板经 Q6/Q7(MS3134) 电平转换 → CN1-51/49 */
&cec_AO {
	pinctrl-0 = <&cec_ao_a_h_pins>;
	pinctrl-names = "default";
	status = "okay";
	hdmi-phandle = <&hdmi_tx>;
};

/* ==================================================================
 * USB —— FUSB340 切换 PCIe/USB3
 * ================================================================== */
&usb2_phy0 {
	phy-supply = <&dc_in>;
};

&usb2_phy1 {
	phy-supply = <&vcc_5v>;
};

&usb3_pcie_phy {
	phy-supply = <&vcc_5v>;
};

&usb {
	status = "okay";
	dr_mode = "peripheral";
};

/* PCIe：默认禁用（FUSB340 SEL=0 → 物理通路在 USB3.0侧）
 * ⚠ &pcie 与 &usb 共用 usb3_pcie_phy，不能同时 okay，详见FUSB340 说明段。
 * 切 PCIe 需改 DT 重编：status="okay" 并把 FUSB340 SEL 默认电平改为高。
 */
/* ==================================================================
 * PCIe（M.2）—— GPIOA_0/A1/GPIOC_7 + FUSB340 SEL(GPIOA_2)
 * ==================================================================
 * 【FUSB340 模式选择】
 *   .6=SEL ← R86(0Ω) ← GPIOA_2（R85/R87 4.7k 下拉，默认 LOW）
 *        LOW  → SW1 → USB3.0   ← 上电默认
 *        HIGH → SW2 → PCIe
 *   .7=OE → GND = 恒使能
 *
 * 【PCIe 控制脚（网表实测）】
 *   GPIOA_0  = PCIE_PERST    4.7k 上拉 A_3V3 (R88) + 0Ω (R92) → CN2-30
 *             →低有效复位（M.2 PERST#），DTS: reset-gpios = <... GPIO_ACTIVE_LOW>
 *   GPIOA_1  = PCIE_PEWAKE   4.7k 上拉 A_3V3 (R89) + 0Ω (R91) → CN2-32
 *             → 唤醒输入，DTS: wakeup-gpios（若内核支持）
 *   GPIOC_7  = PCIE_CLKREQ_N 4.7k **下拉 GND** (R90) + 0Ω (R93) → CN2-28
 *             → CLKREQ# 低有效，wakeup-source
 *
 * 【PHY 供电】
 *   ⚠ FUSB340 .17(VDD) ← **VSYS_3V3**（C232 1uF 去耦），恒开
 *   ⚠ U29(APCI0107, M.2) 供电来自 **NB680GD(U1/U2)**，常开无使能脚
 *   → 无 "usb_pwr"/"pcie_pwr" regulator 节点，不需 GPIO 控制
 *
 * 【为什么不能运行期热切换】
 *   A311D 的 &pcie 与 &usb 共用同一 PHY usb3_pcie_phy (phy@46000)：
 *     meson-g12-common.dtsi:164  &pcie → phys = <&usb3_pcie_phy PHY_TYPE_PCIE>
 *     meson-g12-common.dtsi:2510 &usb  → phys = <&usb3_pcie_phy PHY_TYPE_USB3>
 *   DTS 是编译期静态描述，PHY 归属编译时定死；运行中改 FUSB340 的 SEL
 *   只能改变物理通路，SoC 内部仍按 dtb 写死的一侧枚举 → 两侧不一致失效。
 *
 * 【切换方案】**冷切换（重启选 DTB），最稳**
 *   方式一（推荐）：编译两个 DTB，由 U-Boot 按 GPIOA_2 电平选 fdtfile
 *       amlogic/meson-halo-a311d.dtb        ← &usb  okay
 *       amlogic/meson-halo-a311d-pcie.dtb   ← &pcie okay
 *       ⚠ 本板**不是 extlinux**（SRC_EXTLINUX 未开），切换靠
 *         userpatches/bootscripts/boot-meson64.cmd 里的注入块
 *         （gpio read → setenv fdtfile），详见 docs/冷切换使用说明.md
 *   方式二：单 DTB + U-Boot 脚本读 GPIOA_2 电平动态注入
 *       if gpio get 2; then fdt set /pcie@fc000000 status "okay";
 *                            fdt set /usb@fc00000 status "disabled";
 *                       else   fdt set /usb@fc00000 status "okay";
 *                            fdt set /pcie@fc000000 status "disabled"; fi
 *
 *   GPIOA_2 用 gpio-hog 占位（&gpio 下的 fusb340-sel-hog，**input** hog，
 *   line-name="FUSB340_SEL"），只占位不驱动 strap。
 *   ⚠ input hog 会把该线标记为内核 REQUESTED → userspace **不能**
 *     再 export 读写它（不能 echo）。
 *
 * 【当前配置】默认只开 USB3.0
 */
/* PCIe 默认禁用（FUSB340 SEL=LOW -> 物理通路在 USB3.0 侧）
 * 切 PCIe 见 meson-halo-a311d-pcie.dts：
 *   status = "okay";
 *   reset-gpios = <&gpio GPIOA_0 GPIO_ACTIVE_LOW>;  // M.2 PERST#，4.7k 上拉 A_3V3，低有效
 * 可选（内核/设备支持时）：
 *   wakeup-gpios = <&gpio GPIOA_1 GPIO_ACTIVE_HIGH>;  // PEWAKE
 *   wakeup-source;                                   // CLKREQ# (GPIOC_7, 4.7k 下拉)
 * 参考: VIM3 用 GPIOA_8 做 reset，本板实测为 GPIOA_0。
 */
&pcie {
	status = "disabled";
};

/* ==================================================================
 * 串口
 * ================================================================== */
&uart_A {
	status = "okay";
	pinctrl-0 = <&uart_a_pins>, <&uart_a_cts_rts_pins>;
	pinctrl-names = "default";
	uart-has-rtscts;

	/* AP6256 蓝牙：BT_EN 经 R147(4.7k)+R145(3.3k) → CN2-58 */
	bluetooth {
		compatible = "brcm,bcm43438-bt";
		max-speed = <2000000>;
		clocks = <&wifi32k>;
		clock-names = "lpo";
	};
};

&uart_AO {
	status = "okay";
	pinctrl-0 = <&uart_ao_a_pins>;
	pinctrl-names = "default";
};

/* ==================================================================
 * 其他（VIM3 骨架保留）
 * ================================================================== */
&arb {
	status = "okay";
};

&clkc_audio {
	status = "okay";
};

&pwm_ef {
	status = "okay";
	pinctrl-0 = <&pwm_e_pins>;
	pinctrl-names = "default";
};

/* SARADC：SW5 未贴、SARADC_CH0/CH3 悬空 → 不用 adc-keys */
&saradc {
	status = "okay";
	vref-supply = <&vddao_1v8>;
};

/* SPI NOR：与 eMMC 数据线冲突 → 保持 disabled（VIM3 原样） */
&spifc {
	status = "disabled";
};

/* ==================================================================
 * 屏蔽项（本板无对应硬件）
 * ==================================================================
 * &csi / &csi2   —— 摄像头未使用
 * &dsi           —— 改用 SPI 屏，不接MIPI 显示
 * &ir            —— 改用 gpio-ir-receiver（厂商 ir 节点配 rc-map）
 * adc-keys       —— SARADC 悬空 + SW5 未贴
 * gpio-keys      —— 按键全非 GPIO 直连
 * khadas_mcu / tca6408 —— 本板无 MCU 与 GPIO扩展器
 * pdm_codec / dummy_codec / eqdrc / frddr / toddr / tdm* —— 音频不保留
 */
